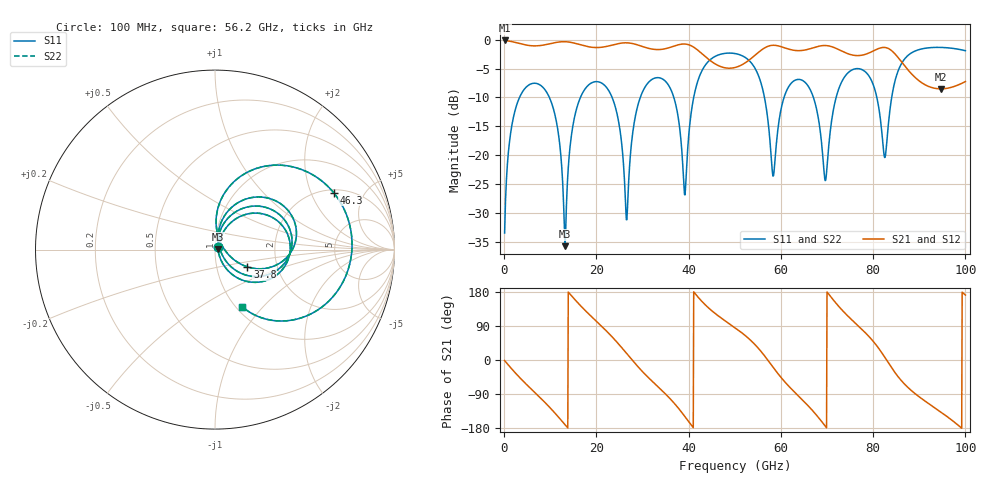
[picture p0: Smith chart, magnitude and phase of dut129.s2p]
! Touchstone file exported from HFSS 2026.1.0
!  File:  C:/ffzhzh/LocalFiles/Ansys_Project_Files/temp_train_TSV_RDL_129_1783460462_50928.aedt
!  Generated:  06:04:31 AM Jul  8, 2026
!  Design:  TSV_RDL
!  Project:  temp_train_TSV_RDL_129_1783460462_50928
! Variables:
!  h_bsmrdl = 2.2um
!  h_ox = 20um
!  h_rdl = 5um
!  h_sub = 74.04um
!  h_tmrdl = 3.74um
!  h_tsv = 74.04um
!  h_via = 3um
!  l_bsmrdl = 368.29um
!  l_sub = 4332.32um
!  l_tmrdl = 666.04um
!  m_sub = 200um
!  pitch = 49.85um
!  r_tsv = 13.79um
!  s_tmrdl = 10um
!  w_bsmrdl = 28.97um
!  w_sub = 500um
!  w_tmrdl = 25.46um
!  x_tsv_center1 = 678.77um
!  x_tsv_center2 = 1076.03um
!  x_tsv_center3 = 1767.53um
!  x_tsv_center4 = 2164.79um
!  x_tsv_center5 = 2856.29um
!  x_tsv_center6 = 3253.55um
# GHz S MA R 50.000000
! Terminal data exported
! Port[1] = TM_RDL1_1_T1
! Port[2] = TM_RDL5_1_T1
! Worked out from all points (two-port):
!   1000 points, 100 MHz to 100 GHz, reference 50 ohm
!   highest |S21| = -0.15 dB at 100 MHz (marker M1); lowest = -8.5 dB at 94.7 GHz (marker M2)
!   |S21| within 3 dB of the highest: start of sweep to 43.93 GHz; 53.72 GHz to 85.46 GHz (31.74 GHz wide, 45.6 % of centre)
!   lowest |S11| = -35.7 dB at 13.2 GHz (marker M3), VSWR 1.03, Z = 51.7 + j0.199 ohm
!   |S11| at or under -10 dB: 9.809 GHz to 16.54 GHz (6.728 GHz wide, 51.1 % of centre); 23.41 GHz to 29.51 GHz (6.105 GHz wide, 23.1 % of centre); 67.05 GHz to 71.97 GHz (4.921 GHz wide, 7.08 % of centre) (the widest 3 of 7)
!   |S22| runs from -35.7 to -1.3 dB; largest |S21 - S12| = 1.7e-14
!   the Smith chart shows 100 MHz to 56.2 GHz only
!   S11 on the Smith chart (normalised r, x): 100 MHz: 1.04, +0.03; 37.8 GHz: 1.41, -0.28; 46.3 GHz: 2.14, +2.94; 56.2 GHz: 1.07, -0.77
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0.1  0.02134 35.4  0.9829 -1.5  0.9829 -1.5  0.02134 35.4
! Gamma 0 0 0 0
! Port Impedance 50 0 50 0
2.1  0.2211 54.2  0.9517 -29.7  0.9517 -29.7  0.2211 54.2
6.5  0.4198 3.6  0.8825 -84.1  0.8825 -84.1  0.4198 3.6
10.9  0.2339 -47.4  0.9389 -138.5  0.9389 -138.5  0.2339 -47.4
13.2  0.01643 6.7  0.9587 -170.7  0.9587 -170.7  0.01642 6.6
16.8  0.3335 46.7  0.8955 140.3  0.8955 140.3  0.3335 46.7
23.2  0.3306 -24.7  0.8918 63.8  0.8918 63.8  0.3306 -24.7
26.7  0.0325 46.9  0.9375 15.1  0.9375 15.1  0.03223 47.2
33.4  0.4691 18.0  0.8199 -71.2  0.8199 -71.2  0.4691 18.1
37.8  0.2051 -28.1  0.9025 -127.5  0.9025 -127.5  0.2052 -27.9
39.2  0.04555 36.4  0.9157 -149.5  0.9157 -149.5  0.04617 36.2
46.3  0.7331 25.7  0.5997 117.6  0.5997 117.6  0.733 25.7
50.1  0.757 -4.8  0.5746 84.7  0.5746 84.7  0.757 -4.9
56.2  0.3515 -64.6  0.8345 15.0  0.8345 15.0  0.3515 -64.6
58.3  0.06613 -21.6  0.8931 -19.0  0.8931 -19.0  0.06681 -21.6
66.7  0.345 -35.8  0.8422 -131.3  0.8422 -131.3  0.3449 -36.0
69.7  0.06094 10.9  0.8886 -175.7  0.8886 -175.7  0.06008 11.1
75.2  0.5406 15.4  0.7402 108.0  0.7402 108.0  0.5407 15.4
83.4  0.2033 50.5  0.8336 -9.2  0.8336 -9.2  0.2025 50.8
88.7  0.7833 0.8  0.488 -84.9  0.488 -84.9  0.7831 0.8
94.7  0.8558 -47.8  0.3754 -137.6  0.3754 -137.6  0.8556 -47.7
100  0.8018 -96.6  0.4337 171.4  0.4337 171.4  0.8017 -96.6
